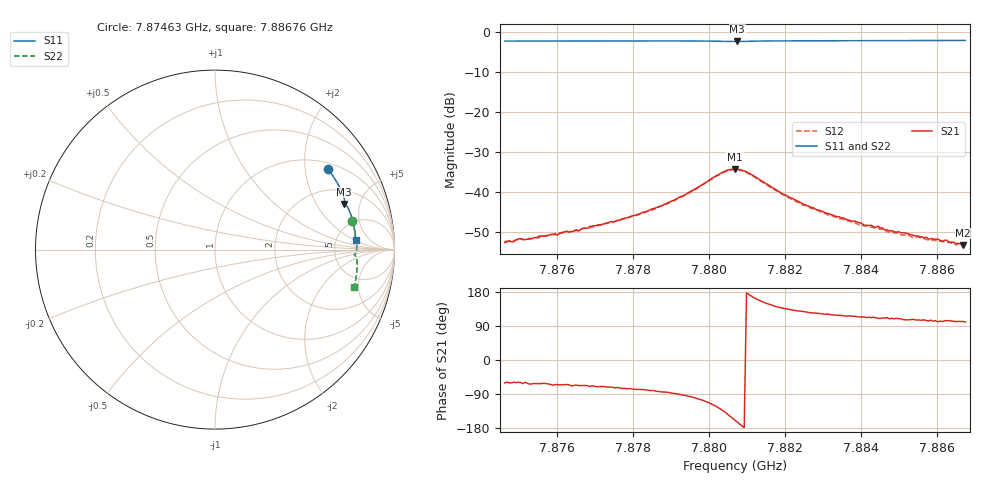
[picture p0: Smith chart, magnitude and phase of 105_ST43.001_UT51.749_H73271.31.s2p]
#  HZ  S  DB  R  50.00
! Rohde & Schwarz Vector Network Analyzer
! Rohde-Schwarz,ZNB20-2Port,1311601062101988,3.16
! Created: UTC 1/12/2023, 6:37:02 PM
! freq[Hz]  db:S11  ang:S11  db:S21  ang:S21  db:S12  ang:S12  db:S22  ang:S22
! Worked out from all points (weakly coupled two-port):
!   201 points, 7.87463 GHz to 7.88676 GHz, reference 50 ohm
!   highest |S21| = -34.28 dB at 7.8807 GHz (marker M1); lowest = -53.3 dB at 7.8867 GHz (marker M2)
!   lowest |S11| = -2.3 dB at 7.88076 GHz (marker M3), VSWR 7.45, Z = 146 + j178 ohm
!   |S11| at or under -10 dB: nowhere
!   |S22| runs from -2.2 to -1.9 dB; largest |S21 - S12| = 0.0013
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7.87463e9  -2.24 35.5  -52.68 -60.3  -52.46 -61.0  -2.14 11.6
7.87554e9  -2.23 33.0  -51.09 -62.3  -51.51 -64.9  -2.11 9.4
7.876025e9  -2.22 31.7  -50.85 -65.6  -50.32 -68.3  -2.10 8.3
7.876692e9  -2.21 29.9  -49.14 -67.3  -49.20 -71.1  -2.08 6.7
7.877662e9  -2.20 27.2  -47.13 -73.9  -47.02 -77.4  -2.05 4.4
7.878694e9  -2.19 24.4  -43.69 -83.4  -43.78 -86.6  -2.04 1.9
7.879361e9  -2.21 22.4  -40.84 -92.7  -40.98 -96.8  -2.06 0.3
7.880331e9  -2.31 19.9  -35.27 -130.6  -35.46 -134.2  -2.16 -1.9
7.880695e9  -2.34 19.5  -34.28 -158.9  -34.43 -161.9  -2.20 -2.2
7.880756e9  -2.35 19.4  -34.30 -163.8  -34.48 -167.1  -2.20 -2.2
7.881059e9  -2.30 19.0  -35.31 173.1  -35.47 169.6  -2.16 -2.3
7.881908e9  -2.18 16.9  -40.31 137.6  -40.39 135.0  -2.02 -4.1
7.882757e9  -2.14 14.5  -44.00 124.4  -44.24 120.7  -1.98 -6.1
7.883425e9  -2.13 12.7  -46.23 118.2  -46.71 114.2  -1.96 -7.7
7.884759e9  -2.11 9.2  -49.77 108.8  -50.10 106.2  -1.93 -10.7
7.886154e9  -2.09 5.5  -52.44 101.6  -52.39 99.9  -1.92 -13.7
7.886275e9  -2.09 5.2  -52.14 104.0  -52.67 99.0  -1.91 -13.9
7.886336e9  -2.09 5.1  -52.75 103.5  -52.52 99.1  -1.91 -14.1
7.886518e9  -2.09 4.6  -52.95 101.3  -53.33 99.2  -1.91 -14.5
7.886579e9  -2.09 4.4  -52.92 101.8  -52.95 97.3  -1.91 -14.6
7.8867e9  -2.09 4.1  -53.30 101.6  -53.62 96.4  -1.91 -14.9
7.88676e9  -2.09 3.9  -53.10 100.0  -53.47 95.3  -1.91 -15.0
